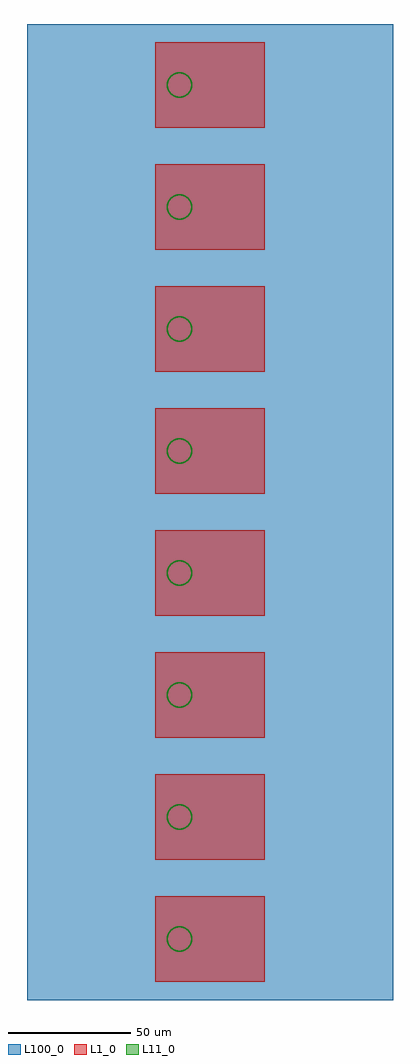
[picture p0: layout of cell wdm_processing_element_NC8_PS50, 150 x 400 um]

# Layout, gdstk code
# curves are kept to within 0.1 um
import gdstk
lib = gdstk.Library(unit=1e-6, precision=1e-09)
def R(c, l, rs):  # rectangles x0, y0, x1, y1
    for r in rs: c.add(gdstk.rectangle(r[:2], r[2:], *l))
def P(c, l, *ps):  # polygons
    for p in ps: c.add(gdstk.Polygon(p, *l))
L1_0 = (1, 0)
L11_0 = (11, 0)
L100_0 = (100, 0)

rectangle_gdsfactorypcom = lib.new_cell('rectangle_gdsfactorypcomponentspshapesprectangle_S150_4_50ec886f')
R(rectangle_gdsfactorypcom, L100_0, [(0,0,150,400)])

c_rectangle_gdsfactorypcom = lib.new_cell('rectangle_gdsfactorypcomponentspshapesprectangle_S45_35_ef38d646')
R(c_rectangle_gdsfactorypcom, L1_0, [(0,0,45,35)])

ring_gdsfactorypcomponen = lib.new_cell('ring_gdsfactorypcomponentspringspring_R5_W0p5_AR2p5_L11_0_A360')
P(ring_gdsfactorypcomponen, L11_0, [(0,-5.25),(-1.136,-5.126),(-2.009,-4.85),(-2.821,-4.428),(-3.712,-3.712),(-4.428,-2.821),(-4.85,-2.009),(-5.126,-1.136),(-5.25,0),(-5.126,1.136),(-4.85,2.009),(-4.428,2.821),(-3.712,3.712),(-2.821,4.428),(-2.009,4.85),(-1.136,5.126),(0,5.25),(1.136,5.126),(2.009,4.85),(2.821,4.428),(3.712,3.712),(4.428,2.821),(4.85,2.009),(5.126,1.136),(5.25,0),(4.75,0),(4.678,0.825),(4.464,1.625),(4.114,2.375),(3.639,3.053),(2.724,3.891),(1.625,4.464),(0.414,4.732),(-0.414,4.732),(-1.028,4.637),(-1.625,4.464),(-2.375,4.114),(-3.359,3.359),(-4.114,2.375),(-4.588,1.229),(-4.75,0),(-4.637,-1.028),(-4.305,-2.007),(-3.639,-3.053),(-2.724,-3.891),(-1.625,-4.464),(-0.62,-4.709),(0.414,-4.732),(1.625,-4.464),(2.552,-4.006),(3.359,-3.359),(4.114,-2.375),(4.588,-1.229),(4.75,0),(5.25,0),(5.126,-1.136),(4.85,-2.009),(4.428,-2.821),(3.712,-3.712),(2.821,-4.428),(2.009,-4.85),(1.136,-5.126)])

c_ring_gdsfactorypcomponen = lib.new_cell('ring_gdsfactorypcomponentspringspring_R8_W0p5_AR2p5_L1_0_A360')
P(c_ring_gdsfactorypcomponen, L1_0, [(0,-8.25),(-1.433,-8.125),(-3.157,-7.622),(-4.433,-6.958),(-5.834,-5.834),(-6.958,-4.433),(-7.622,-3.157),(-8.125,-1.433),(-8.25,0),(-8.125,1.433),(-7.622,3.157),(-6.958,4.433),(-5.834,5.834),(-4.433,6.958),(-3.157,7.622),(-1.433,8.125),(0,8.25),(1.433,8.125),(3.157,7.622),(4.433,6.958),(5.834,5.834),(6.958,4.433),(7.622,3.157),(8.125,1.433),(8.25,0),(7.75,0),(7.632,1.346),(7.283,2.651),(6.712,3.875),(6.148,4.718),(5.48,5.48),(4.718,6.148),(3.875,6.712),(2.966,7.16),(2.006,7.486),(0.675,7.721),(-0.338,7.743),(-1.346,7.632),(-2.651,7.283),(-3.579,6.874),(-4.718,6.148),(-5.48,5.48),(-6.148,4.718),(-6.712,3.875),(-7.391,2.33),(-7.721,0.675),(-7.743,-0.338),(-7.632,-1.346),(-7.391,-2.33),(-7.024,-3.275),(-6.536,-4.164),(-5.937,-4.982),(-4.718,-6.148),(-3.875,-6.712),(-2.966,-7.16),(-2.006,-7.486),(-1.012,-7.684),(0.675,-7.721),(1.677,-7.566),(2.651,-7.283),(4.164,-6.536),(5.48,-5.48),(6.536,-4.164),(7.024,-3.275),(7.486,-2.006),(7.684,-1.012),(7.75,0),(8.25,0),(8.125,-1.433),(7.622,-3.157),(6.958,-4.433),(5.834,-5.834),(4.433,-6.958),(3.157,-7.622),(1.433,-8.125)])

text_gdsfactorypcomponen = lib.new_cell('text_gdsfactorypcomponentsptextsptext_TWDMmPE$8ch_S8_P0_c751b03d')
R(text_gdsfactorypcomponen, L100_0, [(21.6,2.8,28,4.4)])
P(text_gdsfactorypcomponen, L100_0, [(8.8,-12),(7.2,-10.4),(7.2,-8),(8.8,-6.4),(11.2,-6.4),(12.8,-8),(12.8,-8.8),(11.2,-8.8),(10.4,-8),(9.6,-8),(8.8,-8.8),(8.8,-9.6),(9.6,-10.4),(10.4,-10.4),(11.2,-9.6),(12.8,-9.6),(12.8,-10.4),(11.2,-12)],
  [(1.6,-12),(0.8,-11.2),(0.8,-8.8),(1.6,-8),(0.8,-7.2),(0.8,-4.8),(1.6,-4),(3.2,-4),(3.2,-5.6),(2.4,-5.6),(2.4,-7.2),(4.8,-7.2),(4.8,-5.6),(4,-5.6),(4,-4),(5.6,-4),(6.4,-4.8),(6.4,-7.2),(5.6,-8),(6.4,-8.8),(6.4,-11.2),(5.6,-12),(4,-12),(4,-10.4),(4.8,-10.4),(4.8,-8.8),(2.4,-8.8),(2.4,-10.4),(3.2,-10.4),(3.2,-12)],
  [(13.6,-12),(13.6,-3.2),(15.2,-3.2),(15.2,-7.2),(16,-6.4),(17.6,-6.4),(19.2,-8),(19.2,-12),(17.6,-12),(17.6,-8.8),(16.8,-8),(16,-8),(15.2,-8.8),(15.2,-12)],
  [(0.8,0),(0.8,8),(2.4,8),(2.4,3.2),(4,5.6),(5.6,3.2),(5.6,8),(7.2,8),(7.2,0),(5.6,0),(4,2.4),(2.4,0)],
  [(8,0),(8,3.2),(9.6,3.2),(9.6,1.6),(11.2,1.6),(12,2.4),(12,5.6),(11.2,6.4),(9.6,6.4),(9.6,4.8),(8,4.8),(8,8),(12,8),(13.6,6.4),(13.6,1.6),(12,0)],
  [(14.4,0),(14.4,8),(16,8),(17.6,5.6),(19.2,8),(20.8,8),(20.8,0),(19.2,0),(19.2,4.8),(17.6,2.4),(16,4.8),(16,0)],
  [(28.8,0),(28.8,8),(33.6,8),(35.2,6.4),(35.2,4.8),(33.6,3.2),(32,3.2),(32,4.8),(32.8,4.8),(33.6,5.6),(32.8,6.4),(30.4,6.4),(30.4,0)],
  [(36,0),(36,8),(40.8,8),(40.8,6.4),(37.6,6.4),(37.6,4.8),(39.2,4.8),(39.2,3.2),(37.6,3.2),(37.6,1.6),(40.8,1.6),(40.8,0)])

wdm_processing_element_n = lib.new_cell('wdm_processing_element_NC8_PS50')
wdm_processing_element_n.add(gdstk.Reference(rectangle_gdsfactorypcom, (-75,-200)))
wdm_processing_element_n.add(gdstk.Reference(c_rectangle_gdsfactorypcom, (-22.5,-192.5)))
wdm_processing_element_n.add(gdstk.Reference(ring_gdsfactorypcomponen, (-12.5,-175)))
wdm_processing_element_n.add(gdstk.Reference(c_ring_gdsfactorypcomponen, (12.5,-175)))
wdm_processing_element_n.add(gdstk.Reference(c_rectangle_gdsfactorypcom, (-22.5,-142.5)))
wdm_processing_element_n.add(gdstk.Reference(ring_gdsfactorypcomponen, (-12.5,-125)))
wdm_processing_element_n.add(gdstk.Reference(c_ring_gdsfactorypcomponen, (12.5,-125)))
wdm_processing_element_n.add(gdstk.Reference(c_rectangle_gdsfactorypcom, (-22.5,-92.5)))
wdm_processing_element_n.add(gdstk.Reference(ring_gdsfactorypcomponen, (-12.5,-75)))
wdm_processing_element_n.add(gdstk.Reference(c_ring_gdsfactorypcomponen, (12.5,-75)))
wdm_processing_element_n.add(gdstk.Reference(c_rectangle_gdsfactorypcom, (-22.5,-42.5)))
wdm_processing_element_n.add(gdstk.Reference(ring_gdsfactorypcomponen, (-12.5,-25)))
wdm_processing_element_n.add(gdstk.Reference(c_ring_gdsfactorypcomponen, (12.5,-25)))
wdm_processing_element_n.add(gdstk.Reference(c_rectangle_gdsfactorypcom, (-22.5,7.5)))
wdm_processing_element_n.add(gdstk.Reference(ring_gdsfactorypcomponen, (-12.5,25)))
wdm_processing_element_n.add(gdstk.Reference(c_ring_gdsfactorypcomponen, (12.5,25)))
wdm_processing_element_n.add(gdstk.Reference(c_rectangle_gdsfactorypcom, (-22.5,57.5)))
wdm_processing_element_n.add(gdstk.Reference(ring_gdsfactorypcomponen, (-12.5,75)))
wdm_processing_element_n.add(gdstk.Reference(c_ring_gdsfactorypcomponen, (12.5,75)))
wdm_processing_element_n.add(gdstk.Reference(c_rectangle_gdsfactorypcom, (-22.5,107.5)))
wdm_processing_element_n.add(gdstk.Reference(ring_gdsfactorypcomponen, (-12.5,125)))
wdm_processing_element_n.add(gdstk.Reference(c_ring_gdsfactorypcomponen, (12.5,125)))
wdm_processing_element_n.add(gdstk.Reference(c_rectangle_gdsfactorypcom, (-22.5,157.5)))
wdm_processing_element_n.add(gdstk.Reference(ring_gdsfactorypcomponen, (-12.5,175)))
wdm_processing_element_n.add(gdstk.Reference(c_ring_gdsfactorypcomponen, (12.5,175)))
wdm_processing_element_n.add(gdstk.Reference(text_gdsfactorypcomponen, (-20,175)))

lib.write_gds('wdm_processing_element_NC8_PS50.gds')
